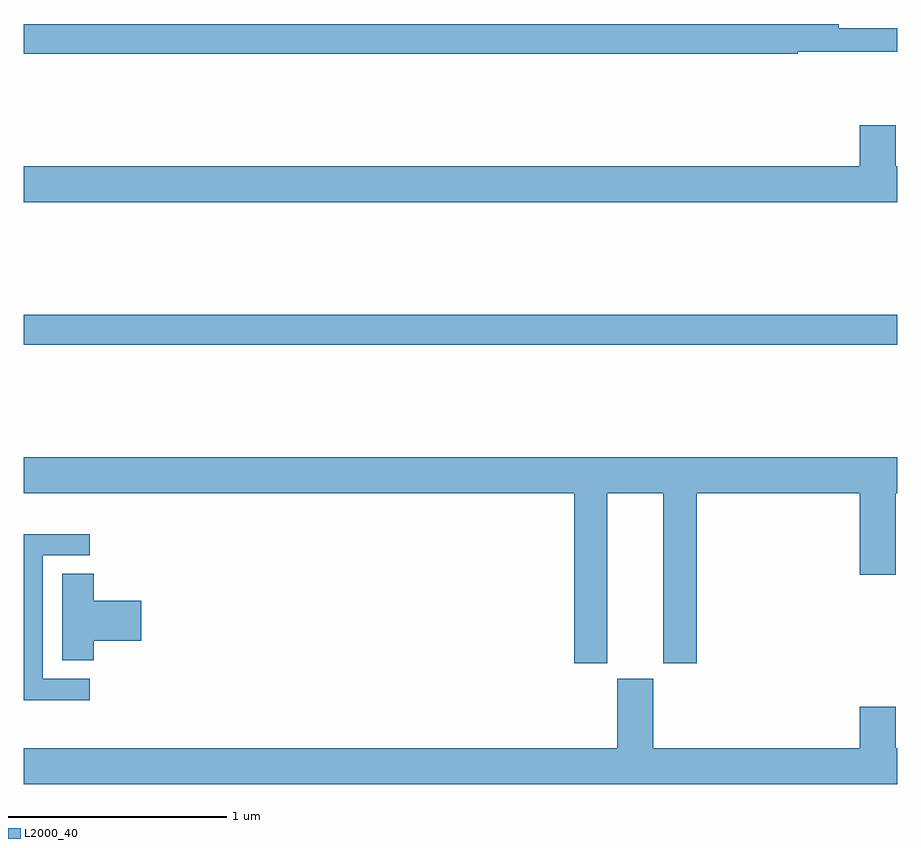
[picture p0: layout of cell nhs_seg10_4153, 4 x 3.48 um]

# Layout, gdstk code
import gdstk
lib = gdstk.Library(unit=1e-6, precision=1e-09)
def R(c, l, rs):  # rectangles x0, y0, x1, y1
    for r in rs: c.add(gdstk.rectangle(r[:2], r[2:], *l))
def P(c, l, *ps):  # polygons
    for p in ps: c.add(gdstk.Polygon(p, *l))
L2000_40 = (2000, 40)

nhs_seg10_4153 = lib.new_cell('nhs_seg10_4153')
R(nhs_seg10_4153, L2000_40, [(341,1324.972,345,1325.108)])
P(nhs_seg10_4153, L2000_40, [(344.545,1326.312),(345,1326.312),(345,1326.421),(344.732,1326.421),(344.732,1326.44),(341,1326.44),(341,1326.304),(344.545,1326.304)],
  [(345,1325.788),(344.992,1325.788),(344.992,1325.977),(344.828,1325.977),(344.828,1325.788),(341,1325.788),(341,1325.624),(345,1325.624)],
  [(343.672,1324.292),(343.928,1324.292),(343.928,1323.513),(344.081,1323.513),(344.081,1324.292),(344.828,1324.292),(344.828,1323.918),(344.992,1323.918),(344.992,1324.292),(345,1324.292),(345,1324.456),(341,1324.456),(341,1324.292),(343.52,1324.292),(343.52,1323.513),(343.672,1323.513)],
  [(341.302,1323.441),(341.088,1323.441),(341.088,1324.008),(341.302,1324.008),(341.302,1324.104),(341,1324.104),(341,1323.343),(341.302,1323.343)],
  [(341.321,1323.617),(341.539,1323.617),(341.539,1323.8),(341.321,1323.8),(341.321,1323.923),(341.177,1323.923),(341.177,1323.526),(341.321,1323.526)],
  [(345,1323.124),(344.992,1323.124),(344.992,1323.313),(344.828,1323.313),(344.828,1323.124),(343.882,1323.124),(343.882,1323.441),(343.718,1323.441),(343.718,1323.124),(341,1323.124),(341,1322.96),(345,1322.96)])

lib.write_gds('nhs_seg10_4153.gds')
